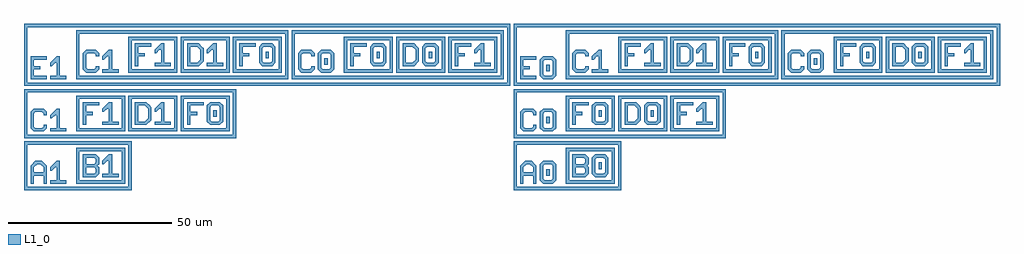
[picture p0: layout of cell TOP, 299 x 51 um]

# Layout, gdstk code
import gdstk
lib = gdstk.Library(unit=1e-6, precision=1e-09)
def R(c, l, rs):  # rectangles x0, y0, x1, y1
    for r in rs: c.add(gdstk.rectangle(r[:2], r[2:], *l))
def P(c, l, *ps):  # polygons
    for p in ps: c.add(gdstk.Polygon(p, *l))
L1_0 = (1, 0)

text_45 = lib.new_cell('TEXT$45')
P(text_45, L1_0, [(0,0),(0,5.5),(1.5,7),(3.5,7),(4.5,6),(2,6),(1,5),(1,3.5),(4,3.5),(4,5),(3,6),(4.5,6),(5,5.5),(5,0),(4,0),(4,2.5),(1,2.5),(1,0)],
  [(6,0),(6,1),(8,1),(8,5),(7.5,5),(6.5,4),(6,4),(6,5),(8,7),(9,7),(9,1),(11,1),(11,0)])

text_25 = lib.new_cell('TEXT$25')
P(text_25, L1_0, [(0,0),(0,7),(4,7),(5,6),(1,6),(1,4),(3.5,4),(4,4.5),(4,5.5),(3.5,6),(5,6),(5,4),(4.5,3.5),(5,3),(1,3),(1,1),(3.5,1),(4,1.5),(4,2.5),(3.5,3),(5,3),(5,1),(4,0)],
  [(6,0),(6,1),(8,1),(8,5),(7.5,5),(6.5,4),(6,4),(6,5),(8,7),(9,7),(9,1),(11,1),(11,0)])

c_b1 = lib.new_cell('B1')
c_b1.add(gdstk.FlexPath([(0.5,0.5),(0.5,10.5),(14.5,10.5),(14.5,0.5),(0.5,0.5)], 1, ends="extended", simple_path=True, layer=1, datatype=0))  # L1_0
c_b1.add(gdstk.Reference(text_25, (2,2)))

c_a1 = lib.new_cell('A1')
c_a1.add(gdstk.FlexPath([(0.5,0.5),(0.5,14.5),(32.5,14.5),(32.5,0.5),(0.5,0.5)], 1, ends="extended", simple_path=True, layer=1, datatype=0))  # L1_0
c_a1.add(gdstk.Reference(text_45, (2,2)))
c_a1.add(gdstk.Reference(c_b1, (16,2)))

text_18 = lib.new_cell('TEXT$18')
P(text_18, L1_0, [(1,0),(0,1),(0,6),(1,7),(4,7),(5,6),(5,5),(4,5),(4,5.5),(3.5,6),(1.5,6),(1,5.5),(1,1.5),(1.5,1),(3.5,1),(4,1.5),(4,2),(5,2),(5,1),(4,0)],
  [(6,0),(6,1),(8,1),(8,5),(7.5,5),(6.5,4),(6,4),(6,5),(8,7),(9,7),(9,1),(11,1),(11,0)])

text_19 = lib.new_cell('TEXT$19')
P(text_19, L1_0, [(0,0),(0,7),(5,7),(5,6),(1,6),(1,4),(3,4),(3,3),(1,3),(1,0)],
  [(6,0),(6,1),(8,1),(8,5),(7.5,5),(6.5,4),(6,4),(6,5),(8,7),(9,7),(9,1),(11,1),(11,0)])

f1_1 = lib.new_cell('F1$1')
f1_1.add(gdstk.FlexPath([(0.5,0.5),(0.5,10.5),(14.5,10.5),(14.5,0.5),(0.5,0.5)], 1, ends="extended", simple_path=True, layer=1, datatype=0))  # L1_0
f1_1.add(gdstk.Reference(text_19, (2,2)))

text_20 = lib.new_cell('TEXT$20')
P(text_20, L1_0, [(0,0),(0,7),(3.5,7),(4.5,6),(1,6),(1,1),(3,1),(4,2),(4,5),(3,6),(4.5,6),(5,5.5),(5,1.5),(3.5,0)],
  [(6,0),(6,1),(8,1),(8,5),(7.5,5),(6.5,4),(6,4),(6,5),(8,7),(9,7),(9,1),(11,1),(11,0)])

text_21 = lib.new_cell('TEXT$21')
P(text_21, L1_0, [(0,0),(0,7),(3.5,7),(4.5,6),(1,6),(1,1),(3,1),(4,2),(4,5),(3,6),(4.5,6),(5,5.5),(5,1.5),(3.5,0)],
  [(6,0),(6,1),(8,1),(8,5),(7.5,5),(6.5,4),(6,4),(6,5),(8,7),(9,7),(9,1),(11,1),(11,0)])

text_22 = lib.new_cell('TEXT$22')
P(text_22, L1_0, [(0,0),(0,7),(3.5,7),(4.5,6),(1,6),(1,1),(3,1),(4,2),(4,5),(3,6),(4.5,6),(5,5.5),(5,1.5),(3.5,0)],
  [(6,0),(6,1),(8,1),(8,5),(7.5,5),(6.5,4),(6,4),(6,5),(8,7),(9,7),(9,1),(11,1),(11,0)])

text_23 = lib.new_cell('TEXT$23')
P(text_23, L1_0, [(0,0),(0,7),(3.5,7),(4.5,6),(1,6),(1,1),(3,1),(4,2),(4,5),(3,6),(4.5,6),(5,5.5),(5,1.5),(3.5,0)],
  [(6,0),(6,1),(8,1),(8,5),(7.5,5),(6.5,4),(6,4),(6,5),(8,7),(9,7),(9,1),(11,1),(11,0)])

c_d1 = lib.new_cell('D1')
c_d1.add(gdstk.FlexPath([(0.5,0.5),(0.5,10.5),(14.5,10.5),(14.5,0.5),(0.5,0.5)], 1, ends="extended", simple_path=True, layer=1, datatype=0))  # L1_0
c_d1.add(gdstk.FlexPath([(0.5,0.5),(0.5,10.5),(14.5,10.5),(14.5,0.5),(0.5,0.5)], 1, ends="extended", simple_path=True, layer=1, datatype=0))  # L1_0
c_d1.add(gdstk.FlexPath([(0.5,0.5),(0.5,10.5),(14.5,10.5),(14.5,0.5),(0.5,0.5)], 1, ends="extended", simple_path=True, layer=1, datatype=0))  # L1_0
c_d1.add(gdstk.FlexPath([(0.5,0.5),(0.5,10.5),(14.5,10.5),(14.5,0.5),(0.5,0.5)], 1, ends="extended", simple_path=True, layer=1, datatype=0))  # L1_0
c_d1.add(gdstk.FlexPath([(0.5,0.5),(0.5,10.5),(14.5,10.5),(14.5,0.5),(0.5,0.5)], 1, ends="extended", simple_path=True, layer=1, datatype=0))  # L1_0
c_d1.add(gdstk.FlexPath([(0.5,0.5),(0.5,10.5),(14.5,10.5),(14.5,0.5),(0.5,0.5)], 1, ends="extended", simple_path=True, layer=1, datatype=0))  # L1_0
c_d1.add(gdstk.FlexPath([(0.5,0.5),(0.5,10.5),(14.5,10.5),(14.5,0.5),(0.5,0.5)], 1, ends="extended", simple_path=True, layer=1, datatype=0))  # L1_0
c_d1.add(gdstk.FlexPath([(0.5,0.5),(0.5,10.5),(14.5,10.5),(14.5,0.5),(0.5,0.5)], 1, ends="extended", simple_path=True, layer=1, datatype=0))  # L1_0
c_d1.add(gdstk.Reference(text_20, (2,2)))
c_d1.add(gdstk.Reference(text_21, (2,2)))
c_d1.add(gdstk.Reference(text_22, (2,2)))
c_d1.add(gdstk.Reference(text_23, (2,2)))

text_4 = lib.new_cell('TEXT$4')
R(text_4, L1_0, [(8,2.5,9,4.5)])
P(text_4, L1_0, [(0,0),(0,7),(5,7),(5,6),(1,6),(1,4),(3,4),(3,3),(1,3),(1,0)],
  [(7,0),(6,1),(6,6),(7,7),(10,7),(11,6),(7.5,6),(7,5.5),(7,1.5),(7.5,1),(9.5,1),(10,1.5),(10,5.5),(9.5,6),(11,6),(11,1),(10,0)])

f0_1 = lib.new_cell('F0$1')
f0_1.add(gdstk.FlexPath([(0.5,0.5),(0.5,10.5),(14.5,10.5),(14.5,0.5),(0.5,0.5)], 1, ends="extended", simple_path=True, layer=1, datatype=0))  # L1_0
f0_1.add(gdstk.Reference(text_4, (2,2)))

c1_1_1 = lib.new_cell('C1$1$1')
c1_1_1.add(gdstk.FlexPath([(0.5,0.5),(0.5,14.5),(64.5,14.5),(64.5,0.5),(0.5,0.5)], 1, ends="extended", simple_path=True, layer=1, datatype=0))  # L1_0
c1_1_1.add(gdstk.Reference(text_18, (2,2)))
c1_1_1.add(gdstk.Reference(f1_1, (16,2)))
c1_1_1.add(gdstk.Reference(c_d1, (32,2)))
c1_1_1.add(gdstk.Reference(f0_1, (48,2)))

text_46 = lib.new_cell('TEXT$46')
P(text_46, L1_0, [(0,0),(0,7),(5,7),(5,6),(1,6),(1,4),(3,4),(3,3),(1,3),(1,1),(5,1),(5,0)],
  [(6,0),(6,1),(8,1),(8,5),(7.5,5),(6.5,4),(6,4),(6,5),(8,7),(9,7),(9,1),(11,1),(11,0)])

text_47 = lib.new_cell('TEXT$47')
P(text_47, L1_0, [(1,0),(0,1),(0,6),(1,7),(4,7),(5,6),(5,5),(4,5),(4,5.5),(3.5,6),(1.5,6),(1,5.5),(1,1.5),(1.5,1),(3.5,1),(4,1.5),(4,2),(5,2),(5,1),(4,0)],
  [(6,0),(6,1),(8,1),(8,5),(7.5,5),(6.5,4),(6,4),(6,5),(8,7),(9,7),(9,1),(11,1),(11,0)])

text_48 = lib.new_cell('TEXT$48')
P(text_48, L1_0, [(0,0),(0,7),(5,7),(5,6),(1,6),(1,4),(3,4),(3,3),(1,3),(1,0)],
  [(6,0),(6,1),(8,1),(8,5),(7.5,5),(6.5,4),(6,4),(6,5),(8,7),(9,7),(9,1),(11,1),(11,0)])

f1_5 = lib.new_cell('F1$5')
f1_5.add(gdstk.FlexPath([(0.5,0.5),(0.5,10.5),(14.5,10.5),(14.5,0.5),(0.5,0.5)], 1, ends="extended", simple_path=True, layer=1, datatype=0))  # L1_0
f1_5.add(gdstk.Reference(text_48, (2,2)))

text_49 = lib.new_cell('TEXT$49')
P(text_49, L1_0, [(0,0),(0,7),(3.5,7),(4.5,6),(1,6),(1,1),(3,1),(4,2),(4,5),(3,6),(4.5,6),(5,5.5),(5,1.5),(3.5,0)],
  [(6,0),(6,1),(8,1),(8,5),(7.5,5),(6.5,4),(6,4),(6,5),(8,7),(9,7),(9,1),(11,1),(11,0)])

text_50 = lib.new_cell('TEXT$50')
P(text_50, L1_0, [(0,0),(0,7),(3.5,7),(4.5,6),(1,6),(1,1),(3,1),(4,2),(4,5),(3,6),(4.5,6),(5,5.5),(5,1.5),(3.5,0)],
  [(6,0),(6,1),(8,1),(8,5),(7.5,5),(6.5,4),(6,4),(6,5),(8,7),(9,7),(9,1),(11,1),(11,0)])

text_51 = lib.new_cell('TEXT$51')
P(text_51, L1_0, [(0,0),(0,7),(3.5,7),(4.5,6),(1,6),(1,1),(3,1),(4,2),(4,5),(3,6),(4.5,6),(5,5.5),(5,1.5),(3.5,0)],
  [(6,0),(6,1),(8,1),(8,5),(7.5,5),(6.5,4),(6,4),(6,5),(8,7),(9,7),(9,1),(11,1),(11,0)])

text_52 = lib.new_cell('TEXT$52')
P(text_52, L1_0, [(0,0),(0,7),(3.5,7),(4.5,6),(1,6),(1,1),(3,1),(4,2),(4,5),(3,6),(4.5,6),(5,5.5),(5,1.5),(3.5,0)],
  [(6,0),(6,1),(8,1),(8,5),(7.5,5),(6.5,4),(6,4),(6,5),(8,7),(9,7),(9,1),(11,1),(11,0)])

d1_2 = lib.new_cell('D1$2')
d1_2.add(gdstk.FlexPath([(0.5,0.5),(0.5,10.5),(14.5,10.5),(14.5,0.5),(0.5,0.5)], 1, ends="extended", simple_path=True, layer=1, datatype=0))  # L1_0
d1_2.add(gdstk.FlexPath([(0.5,0.5),(0.5,10.5),(14.5,10.5),(14.5,0.5),(0.5,0.5)], 1, ends="extended", simple_path=True, layer=1, datatype=0))  # L1_0
d1_2.add(gdstk.FlexPath([(0.5,0.5),(0.5,10.5),(14.5,10.5),(14.5,0.5),(0.5,0.5)], 1, ends="extended", simple_path=True, layer=1, datatype=0))  # L1_0
d1_2.add(gdstk.FlexPath([(0.5,0.5),(0.5,10.5),(14.5,10.5),(14.5,0.5),(0.5,0.5)], 1, ends="extended", simple_path=True, layer=1, datatype=0))  # L1_0
d1_2.add(gdstk.FlexPath([(0.5,0.5),(0.5,10.5),(14.5,10.5),(14.5,0.5),(0.5,0.5)], 1, ends="extended", simple_path=True, layer=1, datatype=0))  # L1_0
d1_2.add(gdstk.FlexPath([(0.5,0.5),(0.5,10.5),(14.5,10.5),(14.5,0.5),(0.5,0.5)], 1, ends="extended", simple_path=True, layer=1, datatype=0))  # L1_0
d1_2.add(gdstk.FlexPath([(0.5,0.5),(0.5,10.5),(14.5,10.5),(14.5,0.5),(0.5,0.5)], 1, ends="extended", simple_path=True, layer=1, datatype=0))  # L1_0
d1_2.add(gdstk.FlexPath([(0.5,0.5),(0.5,10.5),(14.5,10.5),(14.5,0.5),(0.5,0.5)], 1, ends="extended", simple_path=True, layer=1, datatype=0))  # L1_0
d1_2.add(gdstk.Reference(text_49, (2,2)))
d1_2.add(gdstk.Reference(text_50, (2,2)))
d1_2.add(gdstk.Reference(text_51, (2,2)))
d1_2.add(gdstk.Reference(text_52, (2,2)))

text_53 = lib.new_cell('TEXT$53')
R(text_53, L1_0, [(8,2.5,9,4.5)])
P(text_53, L1_0, [(0,0),(0,7),(5,7),(5,6),(1,6),(1,4),(3,4),(3,3),(1,3),(1,0)],
  [(7,0),(6,1),(6,6),(7,7),(10,7),(11,6),(7.5,6),(7,5.5),(7,1.5),(7.5,1),(9.5,1),(10,1.5),(10,5.5),(9.5,6),(11,6),(11,1),(10,0)])

f0_5 = lib.new_cell('F0$5')
f0_5.add(gdstk.FlexPath([(0.5,0.5),(0.5,10.5),(14.5,10.5),(14.5,0.5),(0.5,0.5)], 1, ends="extended", simple_path=True, layer=1, datatype=0))  # L1_0
f0_5.add(gdstk.Reference(text_53, (2,2)))

c1_1 = lib.new_cell('C1$1')
c1_1.add(gdstk.FlexPath([(0.5,0.5),(0.5,14.5),(64.5,14.5),(64.5,0.5),(0.5,0.5)], 1, ends="extended", simple_path=True, layer=1, datatype=0))  # L1_0
c1_1.add(gdstk.Reference(text_47, (2,2)))
c1_1.add(gdstk.Reference(f1_5, (16,2)))
c1_1.add(gdstk.Reference(d1_2, (32,2)))
c1_1.add(gdstk.Reference(f0_5, (48,2)))

text_15 = lib.new_cell('TEXT$15')
R(text_15, L1_0, [(8,2.5,9,4.5)])
P(text_15, L1_0, [(1,0),(0,1),(0,6),(1,7),(4,7),(5,6),(5,5),(4,5),(4,5.5),(3.5,6),(1.5,6),(1,5.5),(1,1.5),(1.5,1),(3.5,1),(4,1.5),(4,2),(5,2),(5,1),(4,0)],
  [(7,0),(6,1),(6,6),(7,7),(10,7),(11,6),(7.5,6),(7,5.5),(7,1.5),(7.5,1),(9.5,1),(10,1.5),(10,5.5),(9.5,6),(11,6),(11,1),(10,0)])

text_16 = lib.new_cell('TEXT$16')
R(text_16, L1_0, [(8,2.5,9,4.5)])
P(text_16, L1_0, [(0,0),(0,7),(5,7),(5,6),(1,6),(1,4),(3,4),(3,3),(1,3),(1,0)],
  [(7,0),(6,1),(6,6),(7,7),(10,7),(11,6),(7.5,6),(7,5.5),(7,1.5),(7.5,1),(9.5,1),(10,1.5),(10,5.5),(9.5,6),(11,6),(11,1),(10,0)])

c_f0 = lib.new_cell('F0')
c_f0.add(gdstk.FlexPath([(0.5,0.5),(0.5,10.5),(14.5,10.5),(14.5,0.5),(0.5,0.5)], 1, ends="extended", simple_path=True, layer=1, datatype=0))  # L1_0
c_f0.add(gdstk.Reference(text_16, (2,2)))

text_2 = lib.new_cell('TEXT$2')
R(text_2, L1_0, [(8,2.5,9,4.5)])
P(text_2, L1_0, [(0,0),(0,7),(3.5,7),(4.5,6),(1,6),(1,1),(3,1),(4,2),(4,5),(3,6),(4.5,6),(5,5.5),(5,1.5),(3.5,0)],
  [(7,0),(6,1),(6,6),(7,7),(10,7),(11,6),(7.5,6),(7,5.5),(7,1.5),(7.5,1),(9.5,1),(10,1.5),(10,5.5),(9.5,6),(11,6),(11,1),(10,0)])

text_3 = lib.new_cell('TEXT$3')
R(text_3, L1_0, [(8,2.5,9,4.5)])
P(text_3, L1_0, [(0,0),(0,7),(3.5,7),(4.5,6),(1,6),(1,1),(3,1),(4,2),(4,5),(3,6),(4.5,6),(5,5.5),(5,1.5),(3.5,0)],
  [(7,0),(6,1),(6,6),(7,7),(10,7),(11,6),(7.5,6),(7,5.5),(7,1.5),(7.5,1),(9.5,1),(10,1.5),(10,5.5),(9.5,6),(11,6),(11,1),(10,0)])

c_d0 = lib.new_cell('D0')
c_d0.add(gdstk.FlexPath([(0.5,0.5),(0.5,10.5),(14.5,10.5),(14.5,0.5),(0.5,0.5)], 1, ends="extended", simple_path=True, layer=1, datatype=0))  # L1_0
c_d0.add(gdstk.FlexPath([(0.5,0.5),(0.5,10.5),(14.5,10.5),(14.5,0.5),(0.5,0.5)], 1, ends="extended", simple_path=True, layer=1, datatype=0))  # L1_0
c_d0.add(gdstk.Reference(text_2, (2,2)))
c_d0.add(gdstk.Reference(text_3, (2,2)))

text_17 = lib.new_cell('TEXT$17')
P(text_17, L1_0, [(0,0),(0,7),(5,7),(5,6),(1,6),(1,4),(3,4),(3,3),(1,3),(1,0)],
  [(6,0),(6,1),(8,1),(8,5),(7.5,5),(6.5,4),(6,4),(6,5),(8,7),(9,7),(9,1),(11,1),(11,0)])

c_f1 = lib.new_cell('F1')
c_f1.add(gdstk.FlexPath([(0.5,0.5),(0.5,10.5),(14.5,10.5),(14.5,0.5),(0.5,0.5)], 1, ends="extended", simple_path=True, layer=1, datatype=0))  # L1_0
c_f1.add(gdstk.Reference(text_17, (2,2)))

c0_1 = lib.new_cell('C0$1')
c0_1.add(gdstk.FlexPath([(0.5,0.5),(0.5,14.5),(64.5,14.5),(64.5,0.5),(0.5,0.5)], 1, ends="extended", simple_path=True, layer=1, datatype=0))  # L1_0
c0_1.add(gdstk.Reference(text_15, (2,2)))
c0_1.add(gdstk.Reference(c_f0, (16,2)))
c0_1.add(gdstk.Reference(c_d0, (32,2)))
c0_1.add(gdstk.Reference(c_f1, (48,2)))

c_e1 = lib.new_cell('E1')
c_e1.add(gdstk.FlexPath([(0.5,0.5),(0.5,18.5),(148.5,18.5),(148.5,0.5),(0.5,0.5)], 1, ends="extended", simple_path=True, layer=1, datatype=0))  # L1_0
c_e1.add(gdstk.Reference(text_46, (2,2)))
c_e1.add(gdstk.Reference(c1_1, (16,2)))
c_e1.add(gdstk.Reference(c0_1, (82,2)))

text_44 = lib.new_cell('TEXT$44')
R(text_44, L1_0, [(8,2.5,9,4.5)])
P(text_44, L1_0, [(0,0),(0,5.5),(1.5,7),(3.5,7),(4.5,6),(2,6),(1,5),(1,3.5),(4,3.5),(4,5),(3,6),(4.5,6),(5,5.5),(5,0),(4,0),(4,2.5),(1,2.5),(1,0)],
  [(7,0),(6,1),(6,6),(7,7),(10,7),(11,6),(7.5,6),(7,5.5),(7,1.5),(7.5,1),(9.5,1),(10,1.5),(10,5.5),(9.5,6),(11,6),(11,1),(10,0)])

text_24 = lib.new_cell('TEXT$24')
R(text_24, L1_0, [(8,2.5,9,4.5)])
P(text_24, L1_0, [(0,0),(0,7),(4,7),(5,6),(1,6),(1,4),(3.5,4),(4,4.5),(4,5.5),(3.5,6),(5,6),(5,4),(4.5,3.5),(5,3),(1,3),(1,1),(3.5,1),(4,1.5),(4,2.5),(3.5,3),(5,3),(5,1),(4,0)],
  [(7,0),(6,1),(6,6),(7,7),(10,7),(11,6),(7.5,6),(7,5.5),(7,1.5),(7.5,1),(9.5,1),(10,1.5),(10,5.5),(9.5,6),(11,6),(11,1),(10,0)])

c_b0 = lib.new_cell('B0')
c_b0.add(gdstk.FlexPath([(0.5,0.5),(0.5,10.5),(14.5,10.5),(14.5,0.5),(0.5,0.5)], 1, ends="extended", simple_path=True, layer=1, datatype=0))  # L1_0
c_b0.add(gdstk.Reference(text_24, (2,2)))

c_a0 = lib.new_cell('A0')
c_a0.add(gdstk.FlexPath([(0.5,0.5),(0.5,14.5),(32.5,14.5),(32.5,0.5),(0.5,0.5)], 1, ends="extended", simple_path=True, layer=1, datatype=0))  # L1_0
c_a0.add(gdstk.Reference(text_44, (2,2)))
c_a0.add(gdstk.Reference(c_b0, (16,2)))

text_26 = lib.new_cell('TEXT$26')
R(text_26, L1_0, [(8,2.5,9,4.5)])
P(text_26, L1_0, [(1,0),(0,1),(0,6),(1,7),(4,7),(5,6),(5,5),(4,5),(4,5.5),(3.5,6),(1.5,6),(1,5.5),(1,1.5),(1.5,1),(3.5,1),(4,1.5),(4,2),(5,2),(5,1),(4,0)],
  [(7,0),(6,1),(6,6),(7,7),(10,7),(11,6),(7.5,6),(7,5.5),(7,1.5),(7.5,1),(9.5,1),(10,1.5),(10,5.5),(9.5,6),(11,6),(11,1),(10,0)])

text_27 = lib.new_cell('TEXT$27')
R(text_27, L1_0, [(8,2.5,9,4.5)])
P(text_27, L1_0, [(0,0),(0,7),(5,7),(5,6),(1,6),(1,4),(3,4),(3,3),(1,3),(1,0)],
  [(7,0),(6,1),(6,6),(7,7),(10,7),(11,6),(7.5,6),(7,5.5),(7,1.5),(7.5,1),(9.5,1),(10,1.5),(10,5.5),(9.5,6),(11,6),(11,1),(10,0)])

f0_2 = lib.new_cell('F0$2')
f0_2.add(gdstk.FlexPath([(0.5,0.5),(0.5,10.5),(14.5,10.5),(14.5,0.5),(0.5,0.5)], 1, ends="extended", simple_path=True, layer=1, datatype=0))  # L1_0
f0_2.add(gdstk.Reference(text_27, (2,2)))

text_28 = lib.new_cell('TEXT$28')
R(text_28, L1_0, [(8,2.5,9,4.5)])
P(text_28, L1_0, [(0,0),(0,7),(3.5,7),(4.5,6),(1,6),(1,1),(3,1),(4,2),(4,5),(3,6),(4.5,6),(5,5.5),(5,1.5),(3.5,0)],
  [(7,0),(6,1),(6,6),(7,7),(10,7),(11,6),(7.5,6),(7,5.5),(7,1.5),(7.5,1),(9.5,1),(10,1.5),(10,5.5),(9.5,6),(11,6),(11,1),(10,0)])

text_29 = lib.new_cell('TEXT$29')
R(text_29, L1_0, [(8,2.5,9,4.5)])
P(text_29, L1_0, [(0,0),(0,7),(3.5,7),(4.5,6),(1,6),(1,1),(3,1),(4,2),(4,5),(3,6),(4.5,6),(5,5.5),(5,1.5),(3.5,0)],
  [(7,0),(6,1),(6,6),(7,7),(10,7),(11,6),(7.5,6),(7,5.5),(7,1.5),(7.5,1),(9.5,1),(10,1.5),(10,5.5),(9.5,6),(11,6),(11,1),(10,0)])

text_30 = lib.new_cell('TEXT$30')
R(text_30, L1_0, [(8,2.5,9,4.5)])
P(text_30, L1_0, [(0,0),(0,7),(3.5,7),(4.5,6),(1,6),(1,1),(3,1),(4,2),(4,5),(3,6),(4.5,6),(5,5.5),(5,1.5),(3.5,0)],
  [(7,0),(6,1),(6,6),(7,7),(10,7),(11,6),(7.5,6),(7,5.5),(7,1.5),(7.5,1),(9.5,1),(10,1.5),(10,5.5),(9.5,6),(11,6),(11,1),(10,0)])

text_31 = lib.new_cell('TEXT$31')
R(text_31, L1_0, [(8,2.5,9,4.5)])
P(text_31, L1_0, [(0,0),(0,7),(3.5,7),(4.5,6),(1,6),(1,1),(3,1),(4,2),(4,5),(3,6),(4.5,6),(5,5.5),(5,1.5),(3.5,0)],
  [(7,0),(6,1),(6,6),(7,7),(10,7),(11,6),(7.5,6),(7,5.5),(7,1.5),(7.5,1),(9.5,1),(10,1.5),(10,5.5),(9.5,6),(11,6),(11,1),(10,0)])

d0_1 = lib.new_cell('D0$1')
d0_1.add(gdstk.FlexPath([(0.5,0.5),(0.5,10.5),(14.5,10.5),(14.5,0.5),(0.5,0.5)], 1, ends="extended", simple_path=True, layer=1, datatype=0))  # L1_0
d0_1.add(gdstk.FlexPath([(0.5,0.5),(0.5,10.5),(14.5,10.5),(14.5,0.5),(0.5,0.5)], 1, ends="extended", simple_path=True, layer=1, datatype=0))  # L1_0
d0_1.add(gdstk.FlexPath([(0.5,0.5),(0.5,10.5),(14.5,10.5),(14.5,0.5),(0.5,0.5)], 1, ends="extended", simple_path=True, layer=1, datatype=0))  # L1_0
d0_1.add(gdstk.FlexPath([(0.5,0.5),(0.5,10.5),(14.5,10.5),(14.5,0.5),(0.5,0.5)], 1, ends="extended", simple_path=True, layer=1, datatype=0))  # L1_0
d0_1.add(gdstk.Reference(text_28, (2,2)))
d0_1.add(gdstk.Reference(text_29, (2,2)))
d0_1.add(gdstk.Reference(text_30, (2,2)))
d0_1.add(gdstk.Reference(text_31, (2,2)))

text_32 = lib.new_cell('TEXT$32')
P(text_32, L1_0, [(0,0),(0,7),(5,7),(5,6),(1,6),(1,4),(3,4),(3,3),(1,3),(1,0)],
  [(6,0),(6,1),(8,1),(8,5),(7.5,5),(6.5,4),(6,4),(6,5),(8,7),(9,7),(9,1),(11,1),(11,0)])

f1_2 = lib.new_cell('F1$2')
f1_2.add(gdstk.FlexPath([(0.5,0.5),(0.5,10.5),(14.5,10.5),(14.5,0.5),(0.5,0.5)], 1, ends="extended", simple_path=True, layer=1, datatype=0))  # L1_0
f1_2.add(gdstk.Reference(text_32, (2,2)))

c0_1_1 = lib.new_cell('C0$1$1')
c0_1_1.add(gdstk.FlexPath([(0.5,0.5),(0.5,14.5),(64.5,14.5),(64.5,0.5),(0.5,0.5)], 1, ends="extended", simple_path=True, layer=1, datatype=0))  # L1_0
c0_1_1.add(gdstk.Reference(text_26, (2,2)))
c0_1_1.add(gdstk.Reference(f0_2, (16,2)))
c0_1_1.add(gdstk.Reference(d0_1, (32,2)))
c0_1_1.add(gdstk.Reference(f1_2, (48,2)))

text_33 = lib.new_cell('TEXT$33')
R(text_33, L1_0, [(8,2.5,9,4.5)])
P(text_33, L1_0, [(0,0),(0,7),(5,7),(5,6),(1,6),(1,4),(3,4),(3,3),(1,3),(1,1),(5,1),(5,0)],
  [(7,0),(6,1),(6,6),(7,7),(10,7),(11,6),(7.5,6),(7,5.5),(7,1.5),(7.5,1),(9.5,1),(10,1.5),(10,5.5),(9.5,6),(11,6),(11,1),(10,0)])

text_34 = lib.new_cell('TEXT$34')
P(text_34, L1_0, [(1,0),(0,1),(0,6),(1,7),(4,7),(5,6),(5,5),(4,5),(4,5.5),(3.5,6),(1.5,6),(1,5.5),(1,1.5),(1.5,1),(3.5,1),(4,1.5),(4,2),(5,2),(5,1),(4,0)],
  [(6,0),(6,1),(8,1),(8,5),(7.5,5),(6.5,4),(6,4),(6,5),(8,7),(9,7),(9,1),(11,1),(11,0)])

text_35 = lib.new_cell('TEXT$35')
P(text_35, L1_0, [(0,0),(0,7),(5,7),(5,6),(1,6),(1,4),(3,4),(3,3),(1,3),(1,0)],
  [(6,0),(6,1),(8,1),(8,5),(7.5,5),(6.5,4),(6,4),(6,5),(8,7),(9,7),(9,1),(11,1),(11,0)])

f1_3 = lib.new_cell('F1$3')
f1_3.add(gdstk.FlexPath([(0.5,0.5),(0.5,10.5),(14.5,10.5),(14.5,0.5),(0.5,0.5)], 1, ends="extended", simple_path=True, layer=1, datatype=0))  # L1_0
f1_3.add(gdstk.Reference(text_35, (2,2)))

text_36 = lib.new_cell('TEXT$36')
P(text_36, L1_0, [(0,0),(0,7),(3.5,7),(4.5,6),(1,6),(1,1),(3,1),(4,2),(4,5),(3,6),(4.5,6),(5,5.5),(5,1.5),(3.5,0)],
  [(6,0),(6,1),(8,1),(8,5),(7.5,5),(6.5,4),(6,4),(6,5),(8,7),(9,7),(9,1),(11,1),(11,0)])

text_37 = lib.new_cell('TEXT$37')
P(text_37, L1_0, [(0,0),(0,7),(3.5,7),(4.5,6),(1,6),(1,1),(3,1),(4,2),(4,5),(3,6),(4.5,6),(5,5.5),(5,1.5),(3.5,0)],
  [(6,0),(6,1),(8,1),(8,5),(7.5,5),(6.5,4),(6,4),(6,5),(8,7),(9,7),(9,1),(11,1),(11,0)])

text_38 = lib.new_cell('TEXT$38')
P(text_38, L1_0, [(0,0),(0,7),(3.5,7),(4.5,6),(1,6),(1,1),(3,1),(4,2),(4,5),(3,6),(4.5,6),(5,5.5),(5,1.5),(3.5,0)],
  [(6,0),(6,1),(8,1),(8,5),(7.5,5),(6.5,4),(6,4),(6,5),(8,7),(9,7),(9,1),(11,1),(11,0)])

text_39 = lib.new_cell('TEXT$39')
P(text_39, L1_0, [(0,0),(0,7),(3.5,7),(4.5,6),(1,6),(1,1),(3,1),(4,2),(4,5),(3,6),(4.5,6),(5,5.5),(5,1.5),(3.5,0)],
  [(6,0),(6,1),(8,1),(8,5),(7.5,5),(6.5,4),(6,4),(6,5),(8,7),(9,7),(9,1),(11,1),(11,0)])

d1_1 = lib.new_cell('D1$1')
d1_1.add(gdstk.FlexPath([(0.5,0.5),(0.5,10.5),(14.5,10.5),(14.5,0.5),(0.5,0.5)], 1, ends="extended", simple_path=True, layer=1, datatype=0))  # L1_0
d1_1.add(gdstk.FlexPath([(0.5,0.5),(0.5,10.5),(14.5,10.5),(14.5,0.5),(0.5,0.5)], 1, ends="extended", simple_path=True, layer=1, datatype=0))  # L1_0
d1_1.add(gdstk.FlexPath([(0.5,0.5),(0.5,10.5),(14.5,10.5),(14.5,0.5),(0.5,0.5)], 1, ends="extended", simple_path=True, layer=1, datatype=0))  # L1_0
d1_1.add(gdstk.FlexPath([(0.5,0.5),(0.5,10.5),(14.5,10.5),(14.5,0.5),(0.5,0.5)], 1, ends="extended", simple_path=True, layer=1, datatype=0))  # L1_0
d1_1.add(gdstk.FlexPath([(0.5,0.5),(0.5,10.5),(14.5,10.5),(14.5,0.5),(0.5,0.5)], 1, ends="extended", simple_path=True, layer=1, datatype=0))  # L1_0
d1_1.add(gdstk.FlexPath([(0.5,0.5),(0.5,10.5),(14.5,10.5),(14.5,0.5),(0.5,0.5)], 1, ends="extended", simple_path=True, layer=1, datatype=0))  # L1_0
d1_1.add(gdstk.FlexPath([(0.5,0.5),(0.5,10.5),(14.5,10.5),(14.5,0.5),(0.5,0.5)], 1, ends="extended", simple_path=True, layer=1, datatype=0))  # L1_0
d1_1.add(gdstk.FlexPath([(0.5,0.5),(0.5,10.5),(14.5,10.5),(14.5,0.5),(0.5,0.5)], 1, ends="extended", simple_path=True, layer=1, datatype=0))  # L1_0
d1_1.add(gdstk.Reference(text_36, (2,2)))
d1_1.add(gdstk.Reference(text_37, (2,2)))
d1_1.add(gdstk.Reference(text_38, (2,2)))
d1_1.add(gdstk.Reference(text_39, (2,2)))

text_40 = lib.new_cell('TEXT$40')
R(text_40, L1_0, [(8,2.5,9,4.5)])
P(text_40, L1_0, [(0,0),(0,7),(5,7),(5,6),(1,6),(1,4),(3,4),(3,3),(1,3),(1,0)],
  [(7,0),(6,1),(6,6),(7,7),(10,7),(11,6),(7.5,6),(7,5.5),(7,1.5),(7.5,1),(9.5,1),(10,1.5),(10,5.5),(9.5,6),(11,6),(11,1),(10,0)])

f0_3 = lib.new_cell('F0$3')
f0_3.add(gdstk.FlexPath([(0.5,0.5),(0.5,10.5),(14.5,10.5),(14.5,0.5),(0.5,0.5)], 1, ends="extended", simple_path=True, layer=1, datatype=0))  # L1_0
f0_3.add(gdstk.Reference(text_40, (2,2)))

c_c1 = lib.new_cell('C1')
c_c1.add(gdstk.FlexPath([(0.5,0.5),(0.5,14.5),(64.5,14.5),(64.5,0.5),(0.5,0.5)], 1, ends="extended", simple_path=True, layer=1, datatype=0))  # L1_0
c_c1.add(gdstk.Reference(text_34, (2,2)))
c_c1.add(gdstk.Reference(f1_3, (16,2)))
c_c1.add(gdstk.Reference(d1_1, (32,2)))
c_c1.add(gdstk.Reference(f0_3, (48,2)))

text_41 = lib.new_cell('TEXT$41')
R(text_41, L1_0, [(8,2.5,9,4.5)])
P(text_41, L1_0, [(1,0),(0,1),(0,6),(1,7),(4,7),(5,6),(5,5),(4,5),(4,5.5),(3.5,6),(1.5,6),(1,5.5),(1,1.5),(1.5,1),(3.5,1),(4,1.5),(4,2),(5,2),(5,1),(4,0)],
  [(7,0),(6,1),(6,6),(7,7),(10,7),(11,6),(7.5,6),(7,5.5),(7,1.5),(7.5,1),(9.5,1),(10,1.5),(10,5.5),(9.5,6),(11,6),(11,1),(10,0)])

text_42 = lib.new_cell('TEXT$42')
R(text_42, L1_0, [(8,2.5,9,4.5)])
P(text_42, L1_0, [(0,0),(0,7),(5,7),(5,6),(1,6),(1,4),(3,4),(3,3),(1,3),(1,0)],
  [(7,0),(6,1),(6,6),(7,7),(10,7),(11,6),(7.5,6),(7,5.5),(7,1.5),(7.5,1),(9.5,1),(10,1.5),(10,5.5),(9.5,6),(11,6),(11,1),(10,0)])

f0_4 = lib.new_cell('F0$4')
f0_4.add(gdstk.FlexPath([(0.5,0.5),(0.5,10.5),(14.5,10.5),(14.5,0.5),(0.5,0.5)], 1, ends="extended", simple_path=True, layer=1, datatype=0))  # L1_0
f0_4.add(gdstk.Reference(text_42, (2,2)))

d0_2 = lib.new_cell('D0$2')
d0_2.add(gdstk.FlexPath([(0.5,0.5),(0.5,10.5),(14.5,10.5),(14.5,0.5),(0.5,0.5)], 1, ends="extended", simple_path=True, layer=1, datatype=0))  # L1_0
d0_2.add(gdstk.FlexPath([(0.5,0.5),(0.5,10.5),(14.5,10.5),(14.5,0.5),(0.5,0.5)], 1, ends="extended", simple_path=True, layer=1, datatype=0))  # L1_0
d0_2.add(gdstk.Reference(text_30, (2,2)))
d0_2.add(gdstk.Reference(text_31, (2,2)))

text_43 = lib.new_cell('TEXT$43')
P(text_43, L1_0, [(0,0),(0,7),(5,7),(5,6),(1,6),(1,4),(3,4),(3,3),(1,3),(1,0)],
  [(6,0),(6,1),(8,1),(8,5),(7.5,5),(6.5,4),(6,4),(6,5),(8,7),(9,7),(9,1),(11,1),(11,0)])

f1_4 = lib.new_cell('F1$4')
f1_4.add(gdstk.FlexPath([(0.5,0.5),(0.5,10.5),(14.5,10.5),(14.5,0.5),(0.5,0.5)], 1, ends="extended", simple_path=True, layer=1, datatype=0))  # L1_0
f1_4.add(gdstk.Reference(text_43, (2,2)))

c_c0 = lib.new_cell('C0')
c_c0.add(gdstk.FlexPath([(0.5,0.5),(0.5,14.5),(64.5,14.5),(64.5,0.5),(0.5,0.5)], 1, ends="extended", simple_path=True, layer=1, datatype=0))  # L1_0
c_c0.add(gdstk.Reference(text_41, (2,2)))
c_c0.add(gdstk.Reference(f0_4, (16,2)))
c_c0.add(gdstk.Reference(d0_2, (32,2)))
c_c0.add(gdstk.Reference(f1_4, (48,2)))

c_e0 = lib.new_cell('E0')
c_e0.add(gdstk.FlexPath([(0.5,0.5),(0.5,18.5),(148.5,18.5),(148.5,0.5),(0.5,0.5)], 1, ends="extended", simple_path=True, layer=1, datatype=0))  # L1_0
c_e0.add(gdstk.Reference(text_33, (2,2)))
c_e0.add(gdstk.Reference(c_c1, (16,2)))
c_e0.add(gdstk.Reference(c_c0, (82,2)))

top = lib.new_cell('TOP')
top.add(gdstk.Reference(c_a1, (2,2)))
top.add(gdstk.Reference(c1_1_1, (2,18)))
top.add(gdstk.Reference(c_e1, (2,34)))
top.add(gdstk.Reference(c_a0, (152,2)))
top.add(gdstk.Reference(c0_1_1, (152,18)))
top.add(gdstk.Reference(c_e0, (152,34)))

lib.write_gds('TOP.gds')
